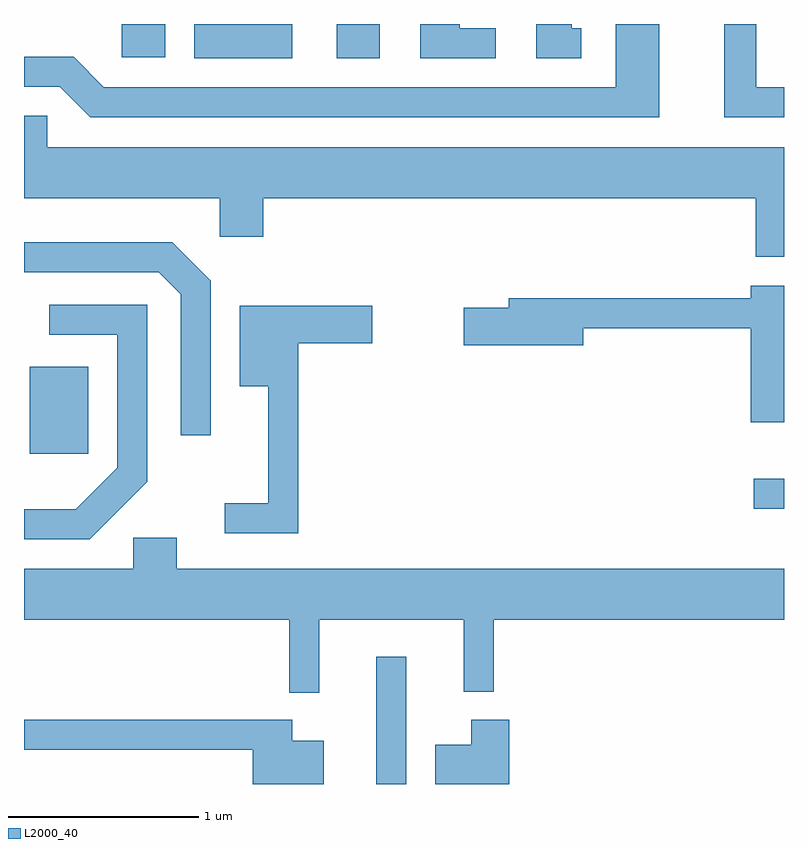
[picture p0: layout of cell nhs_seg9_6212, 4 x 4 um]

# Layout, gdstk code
import gdstk
lib = gdstk.Library(unit=1e-6, precision=1e-09)
def R(c, l, rs):  # rectangles x0, y0, x1, y1
    for r in rs: c.add(gdstk.rectangle(r[:2], r[2:], *l))
def P(c, l, *ps):  # polygons
    for p in ps: c.add(gdstk.Polygon(p, *l))
L2000_40 = (2000, 40)

nhs_seg9_6212 = lib.new_cell('nhs_seg9_6212')
R(nhs_seg9_6212, L2000_40, [(369.466,2066.432,369.624,2067.103), (371.453,2067.881,371.611,2068.039), (367.641,2068.171,367.949,2068.629), (368.506,2070.251,369.024,2070.432), (369.256,2070.251,369.484,2070.432), (368.126,2070.256,368.354,2070.432)])
P(nhs_seg9_6212, L2000_40, [(370.093,2070.409),(369.904,2070.409),(369.904,2070.432),(369.696,2070.432),(369.696,2070.251),(370.093,2070.251)],
  [(371.611,2070.099),(371.464,2070.099),(371.464,2070.432),(371.296,2070.432),(371.296,2069.941),(371.611,2069.941)],
  [(370.954,2070.432),(370.726,2070.432),(370.726,2070.099),(368.032,2070.099),(367.872,2070.259),(367.611,2070.259),(367.611,2070.101),(367.799,2070.101),(367.959,2069.941),(370.954,2069.941)],
  [(370.543,2070.409),(370.494,2070.409),(370.494,2070.432),(370.306,2070.432),(370.306,2070.251),(370.543,2070.251)],
  [(371.611,2069.784),(367.734,2069.784),(367.734,2069.949),(367.611,2069.949),(367.611,2069.516),(368.641,2069.516),(368.641,2069.311),(368.869,2069.311),(368.869,2069.516),(371.461,2069.516),(371.461,2069.206),(371.611,2069.206)],
  [(368.594,2069.082),(368.392,2069.284),(367.611,2069.284),(367.611,2069.126),(368.319,2069.126),(368.436,2069.009),(368.436,2068.268),(368.594,2068.268)],
  [(371.611,2069.054),(371.436,2069.054),(371.436,2068.989),(370.161,2068.989),(370.161,2068.939),(369.926,2068.939),(369.926,2068.741),(370.554,2068.741),(370.554,2068.831),(371.436,2068.831),(371.436,2068.336),(371.611,2068.336)],
  [(368.259,2068.024),(368.259,2068.954),(367.743,2068.954),(367.743,2068.796),(368.101,2068.796),(368.101,2068.097),(367.884,2067.879),(367.611,2067.879),(367.611,2067.721),(367.957,2067.721)],
  [(369.054,2068.751),(369.444,2068.751),(369.444,2068.949),(368.746,2068.949),(368.746,2068.526),(368.896,2068.526),(368.896,2067.909),(368.668,2067.909),(368.668,2067.751),(369.054,2067.751)],
  [(368.414,2067.729),(368.186,2067.729),(368.186,2067.564),(367.611,2067.564),(367.611,2067.296),(369.006,2067.296),(369.006,2066.913),(369.164,2066.913),(369.164,2067.296),(369.926,2067.296),(369.926,2066.918),(370.084,2066.918),(370.084,2067.296),(371.611,2067.296),(371.611,2067.564),(368.414,2067.564)],
  [(369.189,2066.659),(369.024,2066.659),(369.024,2066.769),(367.611,2066.769),(367.611,2066.611),(368.816,2066.611),(368.816,2066.432),(369.189,2066.432)],
  [(370.164,2066.769),(369.966,2066.769),(369.966,2066.639),(369.776,2066.639),(369.776,2066.432),(370.164,2066.432)])

lib.write_gds('nhs_seg9_6212.gds')
